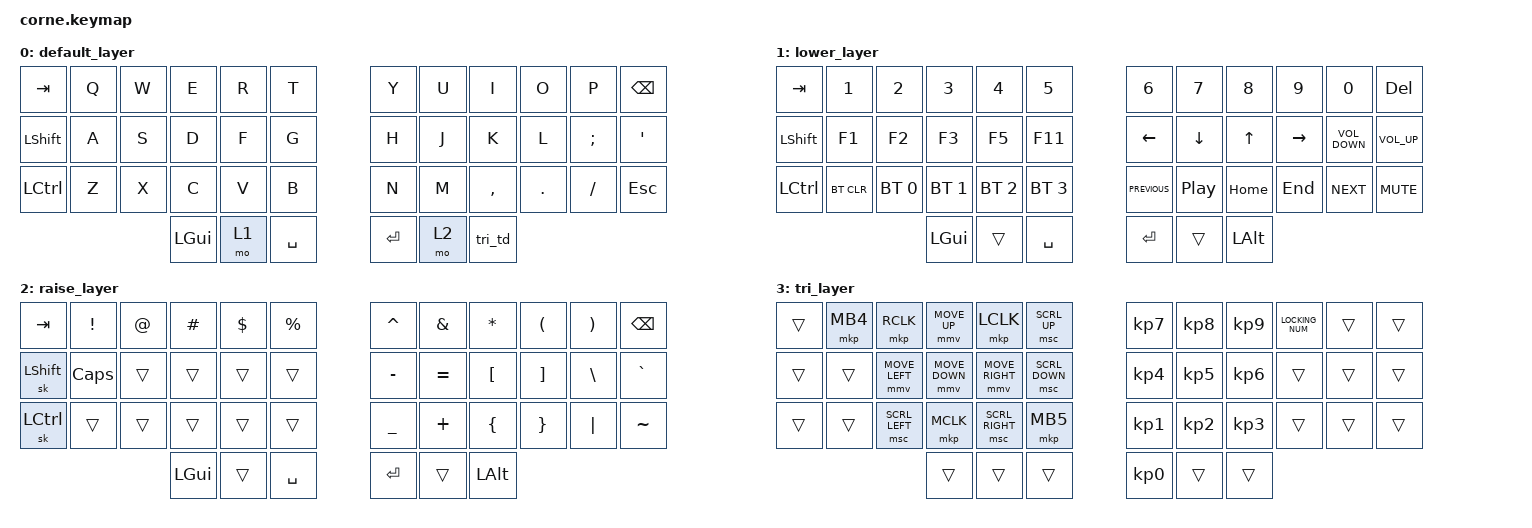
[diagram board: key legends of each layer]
/*
 * Copyright (c) 2020 The ZMK Contributors
 *
 * SPDX-License-Identifier: MIT
 */

#include <behaviors.dtsi>
#include <dt-bindings/zmk/keys.h>
#include <dt-bindings/zmk/bt.h>
#include <dt-bindings/zmk/pointing.h>

/ {
        behaviors {
            tri_td: tap_dance_tri_layer {
                compatible = "zmk,behavior-tap-dance";
                #binding-cells = <0>;
                tapping-term-ms = <200>;
                bindings = <&mt LALT CAPSLOCK>, <&tog 3>;
            };
        };

        keymap {
                compatible = "zmk,keymap";

                default_layer {
// -----------------------------------------------------------------------------------------
// |  TAB |  Q  |  W  |  E  |  R  |  T  |   |  Y  |  U   |  I  |  O  |  P  | BSPC |
// | SHFT |  A  |  S  |  D  |  F  |  G  |   |  H  |  J   |  K  |  L  |  ;  |  '   |
// | CTRL |  Z  |  X  |  C  |  V  |  B  |   |  N  |  M   |  ,  |  .  |  /  | ESC  |
//                    | GUI | LWR | SPC |   | ENT | RSE  | ALT |
                        bindings = <
&kp TAB    &kp Q  &kp W  &kp E     &kp R  &kp T        &kp Y    &kp U  &kp I      &kp O    &kp P     &kp BSPC
&kp LSHFT  &kp A  &kp S  &kp D     &kp F  &kp G        &kp H    &kp J  &kp K      &kp L    &kp SEMI  &kp SQT
&kp LCTRL  &kp Z  &kp X  &kp C     &kp V  &kp B        &kp N    &kp M  &kp COMMA  &kp DOT  &kp FSLH  &kp ESC
                         &kp LGUI  &mo 1  &kp SPACE    &kp RET &mo 2 &tri_td
                        >;
                };
                lower_layer {
// -----------------------------------------------------------------------------------------
// |  TAB |  1    |  2  |  3  |  4  |  5  |   |  6       |  7         |  8   |  9  |    0   |  DELETE  |
// | SHFT | F1    | F2  |  F3 | F5  | F11 |   | LFT      | DWN        |  UP  | RGT | VOL DN | VOL UP   |
// | CTRL | BTCLR | BT1 | BT2 | BT3 | BT4 |   | PREVIOUS | PLAY/PAUSE | HOME | END | NEXT   | MUTE     |
//                    | GUI |     | SPC |   | ENT |     | ALT |
                        bindings = <
&kp TAB    &kp N1      &kp N2        &kp N3        &kp N4        &kp N5          &kp N6          &kp N7            &kp N8    &kp N9     &kp N0             &kp DELETE
&kp LSHFT  &kp F1      &kp F2        &kp F3        &kp F5        &kp F11         &kp LEFT        &kp DOWN          &kp UP    &kp RIGHT  &kp C_VOLUME_DOWN  &kp C_VOLUME_UP
&kp LCTRL  &bt BT_CLR  &bt BT_SEL 0  &bt BT_SEL 1  &bt BT_SEL 2  &bt BT_SEL 3    &kp C_PREVIOUS  &kp C_PLAY_PAUSE  &kp HOME  &kp END    &kp C_NEXT         &kp C_MUTE
                                     &kp LGUI      &trans        &kp SPACE       &kp RET         &trans            &kp LALT
                        >;
                };

                raise_layer {
// -----------------------------------------------------------------------------------------
// |  TAB |  !       |  @  |  #  |  $  |  %  |   |  ^  |  &  |  *  |  (  |  )  | BSPC |
// | SHFT | CAPSLOCK |     |     |     |     |   |  -  |  =  |  [  |  ]  |  \  |  `   |
// | CTRL |          |     |     |     |     |   |  _  |  +  |  {  |  }  | "|" |  ~   |
//                    | GUI |     | SPC |   | ENT |     | ALT |
                        bindings = <
&kp TAB    &kp EXCL      &kp AT  &kp HASH  &kp DLLR  &kp PRCNT    &kp CARET  &kp AMPS   &kp ASTRK  &kp LPAR  &kp RPAR  &kp BSPC
&sk LSHFT  &kp CAPSLOCK  &trans  &trans    &trans    &trans       &kp MINUS  &kp EQUAL  &kp LBKT   &kp RBKT  &kp BSLH  &kp GRAVE
&sk LCTRL  &trans        &trans  &trans    &trans    &trans       &kp UNDER  &kp PLUS   &kp LBRC   &kp RBRC  &kp PIPE  &kp TILDE
                                 &kp LGUI  &trans    &kp SPACE    &kp RET    &trans     &kp LALT
                        >;
        };

        tri_layer {
// -----------------------------------------------------------------------------------------
// |      |          |     |     |     |     |   |     |      |     |      |       |      |
// |      |          |     |     |     |     |   |     |      |     |      |       |      |
// |      |          |     |     |     |     |   |     |      |     |      |       |      |
//                    | GUI |     | SPC |   | ENT |     | ALT |

            bindings = <
&trans  &mkp MB4  &mkp RCLK       &mmv MOVE_UP    &mkp LCLK        &msc SCRL_UP      &kp KP_NUMBER_7  &kp KP_NUMBER_8  &kp KP_NUMBER_9  &kp LOCKING_NUM  &trans  &trans
&trans  &trans    &mmv MOVE_LEFT  &mmv MOVE_DOWN  &mmv MOVE_RIGHT  &msc SCRL_DOWN    &kp KP_NUMBER_4  &kp KP_NUMBER_5  &kp KP_NUMBER_6  &trans           &trans  &trans
&trans  &trans    &msc SCRL_LEFT  &mkp MCLK       &msc SCRL_RIGHT  &mkp MB5          &kp KP_NUMBER_1  &kp KP_NUMBER_2  &kp KP_NUMBER_3  &trans           &trans  &trans
                                  &trans          &trans           &trans            &kp KP_NUMBER_0           &trans           &trans
            >;
        };
    };

//    conditional_layers {
//        compatible = "zmk,conditional-layers";

//        tri_layer {
//            if-layers = <1 2>;
//            then-layer = <3>;
//        };
//    };
};
